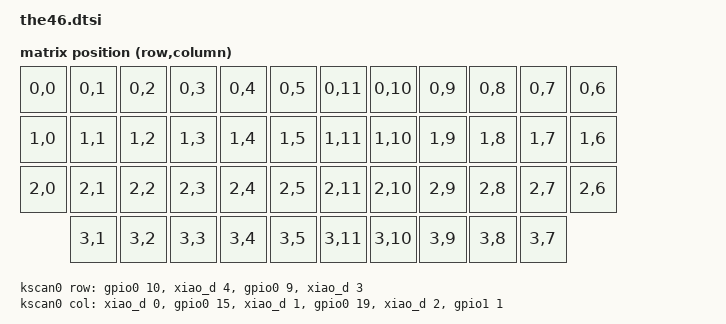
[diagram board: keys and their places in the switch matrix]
#include <dt-bindings/zmk/matrix_transform.h> // Put this with the other includes at the top of your dtsi
#include <the46_layouts.dtsi>

/ {
    kscan0: kscan0 {
        compatible = "zmk,kscan-gpio-matrix";
        diode-direction = "col2row";
        wakeup-source;
        row-gpios
            = <&gpio0 10 (GPIO_ACTIVE_HIGH | GPIO_PULL_DOWN)>
            , <&xiao_d 4 (GPIO_ACTIVE_HIGH | GPIO_PULL_DOWN)>
            , <&gpio0 9 (GPIO_ACTIVE_HIGH | GPIO_PULL_DOWN)>
            , <&xiao_d 3 (GPIO_ACTIVE_HIGH | GPIO_PULL_DOWN)>
            ;
        col-gpios
            = <&xiao_d 0 GPIO_ACTIVE_HIGH>
            , <&gpio0 15 GPIO_ACTIVE_HIGH>
            , <&xiao_d 1 GPIO_ACTIVE_HIGH>
            , <&gpio0 19 GPIO_ACTIVE_HIGH>
            , <&xiao_d 2  GPIO_ACTIVE_HIGH>
            , <&gpio1 1 GPIO_ACTIVE_HIGH>
            ;
    };


    default_transform: keymap_transform0 {
        compatible = "zmk,matrix-transform";
        columns = <12>;
        rows = <4>;
        map = <
            RC(0,0) RC(0,1) RC(0,2) RC(0,3) RC(0,4) RC(0,5)      RC(0,11) RC(0,10) RC(0,9) RC(0,8) RC(0,7) RC(0,6) 
            RC(1,0) RC(1,1) RC(1,2) RC(1,3) RC(1,4) RC(1,5)      RC(1,11) RC(1,10) RC(1,9) RC(1,8) RC(1,7) RC(1,6) 
            RC(2,0) RC(2,1) RC(2,2) RC(2,3) RC(2,4) RC(2,5)      RC(2,11) RC(2,10) RC(2,9) RC(2,8) RC(2,7) RC(2,6) 
                    RC(3,1) RC(3,2) RC(3,3) RC(3,4) RC(3,5)      RC(3,11) RC(3,10) RC(3,9) RC(3,8) RC(3,7) 
        >;
    };
};


&pinctrl {
    spi0_default: spi0_default {
        group1 {
            psels = <NRF_PSEL(SPIM_SCK, 1, 13)>,
                <NRF_PSEL(SPIM_MOSI, 1, 15)>,
                <NRF_PSEL(SPIM_MISO, 1, 14)>;
        };
    };
    spi0_sleep: spi0_sleep {
        group1 {
            psels = <NRF_PSEL(SPIM_SCK, 1, 13)>,
                <NRF_PSEL(SPIM_MOSI, 1, 15)>,
                <NRF_PSEL(SPIM_MISO, 1, 14)>;
            low-power-enable;
        };
    };
};

nice_view_spi: &spi0 {
    compatible = "nordic,nrf-spim";
    pinctrl-0 = <&spi0_default>;
    pinctrl-1 = <&spi0_sleep>;
    pinctrl-names = "default", "sleep";
    cs-gpios = <&xiao_d 7 GPIO_ACTIVE_HIGH>;
};

// uncomment this after Zephyr upgrade (and remove from .conf files)
// &uicr {
//     nfct-pins-as-gpios;
// };

